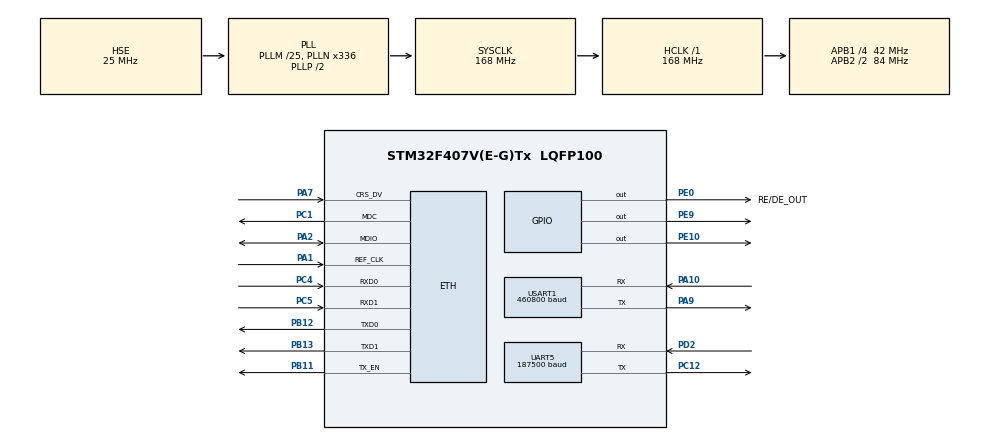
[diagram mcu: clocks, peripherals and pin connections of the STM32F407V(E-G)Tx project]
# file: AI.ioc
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Dma.Request0=USART1_TX
Dma.Request1=UART5_TX
Dma.UART5_TX.1.Direction=DMA_MEMORY_TO_PERIPH
Dma.UART5_TX.1.FIFOMode=DMA_FIFOMODE_DISABLE
Dma.UART5_TX.1.Instance=DMA1_Stream7
Dma.UART5_TX.1.MemDataAlignment=DMA_MDATAALIGN_BYTE
Dma.UART5_TX.1.MemInc=DMA_MINC_ENABLE
Dma.UART5_TX.1.Mode=DMA_NORMAL
Dma.UART5_TX.1.PeriphDataAlignment=DMA_PDATAALIGN_BYTE
Dma.UART5_TX.1.PeriphInc=DMA_PINC_DISABLE
Dma.UART5_TX.1.Priority=DMA_PRIORITY_LOW
Dma.USART1_TX.0.Direction=DMA_MEMORY_TO_PERIPH
Dma.USART1_TX.0.FIFOMode=DMA_FIFOMODE_DISABLE
Dma.USART1_TX.0.Instance=DMA2_Stream7
Dma.USART1_TX.0.MemDataAlignment=DMA_MDATAALIGN_BYTE
Dma.USART1_TX.0.MemInc=DMA_MINC_ENABLE
Dma.USART1_TX.0.Mode=DMA_NORMAL
Dma.USART1_TX.0.PeriphDataAlignment=DMA_PDATAALIGN_BYTE
Dma.USART1_TX.0.PeriphInc=DMA_PINC_DISABLE
Dma.USART1_TX.0.Priority=DMA_PRIORITY_MEDIUM
ETH.MACAddr=00\:02\:A2\:42\:50\:E4
ETH.MediaInterface=ETH_MEDIA_INTERFACE_RMII
ETH.PHY_Name_RMII=userPHY
ETH.PHY_User_Name=DP83848
ETH.PhyAddress=1
FREERTOS.HEAP_NUMBER=4
FREERTOS.MEMORY_ALLOCATION=2
FREERTOS.Tasks01=defaultTask,0,256,StartDefaultTask,Default,NULL,Dynamic,NULL,NULL
FREERTOS.configCHECK_FOR_STACK_OVERFLOW=0
FREERTOS.configGENERATE_RUN_TIME_STATS=1
FREERTOS.configLIBRARY_MAX_SYSCALL_INTERRUPT_PRIORITY=5
FREERTOS.configMINIMAL_STACK_SIZE=512
FREERTOS.configQUEUE_REGISTRY_SIZE=16
FREERTOS.configTOTAL_HEAP_SIZE=36864
FREERTOS.configUSE_TIMERS=0
FREERTOS.configUSE_TRACE_FACILITY=1
IWDG.Prescaler=IWDG_PRESCALER_4
IWDG.Reload=400
LWIP.DEFAULT_THREAD_STACKSIZE=2048
LWIP.IP_ADDRESS=192.168.004.253
LWIP.LWIP_DHCP=0
LWIP.LWIP_HTTPD=1
LWIP.LWIP_UDP=0
LWIP.MEMP_NUM_NETBUF=4
LWIP.MEMP_NUM_NETCONN=8
LWIP.MEMP_NUM_TCPIP_MSG_API=16
LWIP.MEMP_NUM_TCP_PCB=16
LWIP.MEMP_NUM_TCP_SEG=24
LWIP.NETMASK_ADDRESS=255.255.255.000
LWIP.SLIPIF_THREAD_STACKSIZE=2048
LWIP.TCPIP_THREAD_PRIO=2
LWIP.TCPIP_THREAD_STACKSIZE=2048
LWIP.TCP_MSS=720
LWIP.TCP_SND_BUF=1840
LWIP.TCP_WND=4096
LWIP.Version=v2.0.3_Cube
Mcu.Family=STM32F4
Mcu.Name=STM32F407V(E-G)Tx
Mcu.Package=LQFP100
NVIC.DMA1_Stream7_IRQn=true\:5\:0\:false\:false\:true\:true\:false
NVIC.DMA2_Stream7_IRQn=true\:5\:0\:false\:false\:true\:true\:false
NVIC.ETH_IRQn=true\:5\:0\:false\:false\:true\:true\:false
NVIC.PriorityGroup=NVIC_PRIORITYGROUP_4
NVIC.TIM1_UP_TIM10_IRQn=true\:0\:0\:false\:false\:true\:false\:false
NVIC.TIM7_IRQn=true\:5\:0\:false\:false\:true\:true\:true
NVIC.TIM8_UP_TIM13_IRQn=true\:5\:0\:false\:false\:true\:true\:true
NVIC.TimeBase=TIM1_UP_TIM10_IRQn
NVIC.TimeBaseIP=TIM1
NVIC.UART5_IRQn=true\:5\:0\:false\:false\:true\:true\:true
NVIC.USART1_IRQn=true\:5\:0\:false\:false\:true\:true\:true
PA1.Mode=RMII
PA1.Signal=ETH_REF_CLK
PA10.Mode=Asynchronous
PA10.Signal=USART1_RX
PA13.Mode=Trace_Asynchronous_SW
PA13.Signal=SYS_JTMS-SWDIO
PA14.Mode=Trace_Asynchronous_SW
PA14.Signal=SYS_JTCK-SWCLK
PA2.Mode=RMII
PA2.Signal=ETH_MDIO
PA7.Mode=RMII
PA7.Signal=ETH_CRS_DV
PA9.Mode=Asynchronous
PA9.Signal=USART1_TX
PB10.Signal=ETH_RX_ER
PB11.Mode=RMII
PB11.Signal=ETH_TX_EN
PB12.Mode=RMII
PB12.Signal=ETH_TXD0
PB13.Mode=RMII
PB13.Signal=ETH_TXD1
PB3.Mode=Trace_Asynchronous_SW
PB3.Signal=SYS_JTDO-SWO
PC1.Mode=RMII
PC1.Signal=ETH_MDC
PC12.Mode=Asynchronous
PC12.Signal=UART5_TX
PC4.Mode=RMII
PC4.Signal=ETH_RXD0
PC5.Mode=RMII
PC5.Signal=ETH_RXD1
PD2.Mode=Asynchronous
PD2.Signal=UART5_RX
PE0.GPIO_Label=RE/DE_OUT
PE0.Signal=GPIO_Output
PE10.Signal=GPIO_Output
PE9.Signal=GPIO_Output
PH0-OSC_IN.Mode=HSE-External-Oscillator
PH0-OSC_IN.Signal=RCC_OSC_IN
PH1-OSC_OUT.Mode=HSE-External-Oscillator
PH1-OSC_OUT.Signal=RCC_OSC_OUT
ProjectManager.HeapSize=0x2000
ProjectManager.StackSize=0x4000
ProjectManager.TargetToolchain=TrueSTUDIO
RCC.48MHZClocksFreq_Value=67200000
RCC.AHBFreq_Value=168000000
RCC.APB1CLKDivider=RCC_HCLK_DIV4
RCC.APB1Freq_Value=42000000
RCC.APB1TimFreq_Value=84000000
RCC.APB2CLKDivider=RCC_HCLK_DIV2
RCC.APB2Freq_Value=84000000
RCC.APB2TimFreq_Value=168000000
RCC.CortexFreq_Value=168000000
RCC.HCLKFreq_Value=168000000
RCC.HSE_VALUE=25000000
RCC.HSI_VALUE=16000000
RCC.LSE_VALUE=32768
RCC.PLLM=25
RCC.PLLN=336
RCC.PLLQ=5
RCC.PLLSourceVirtual=RCC_PLLSOURCE_HSE
RCC.SYSCLKFreq_VALUE=168000000
RCC.SYSCLKSource=RCC_SYSCLKSOURCE_PLLCLK
RCC.VCOOutputFreq_Value=336000000
TIM7.Period=840
TIM8.CounterMode=TIM_COUNTERMODE_UP
TIM8.Period=27720
UART5.BaudRate=187500
UART5.Parity=PARITY_EVEN
UART5.VirtualMode=Asynchronous
UART5.WordLength=WORDLENGTH_9B
USART1.BaudRate=460800
USART1.Mode=MODE_TX
USART1.VirtualMode=VM_ASYNC
VP_FREERTOS_VS_ENABLE.Mode=Enabled
VP_IWDG_VS_IWDG.Mode=IWDG_Activate
VP_LWIP_VS_Enabled.Mode=Enabled
VP_SYS_VS_tim1.Mode=TIM1
VP_TIM7_VS_ClockSourceINT.Mode=Enable_Timer
VP_TIM8_VS_ClockSourceINT.Mode=Internal
board=custom

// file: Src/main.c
/* USER CODE BEGIN Header */
/**
 ******************************************************************************
 * @file           : main.c
 * @brief          : Main program body
 ******************************************************************************
 * This notice applies to any and all portions of this file
 * that are not between comment pairs USER CODE BEGIN and
 * USER CODE END. Other portions of this file, whether
 * inserted by the user or by software development tools
 * are owned by their respective copyright owners.
 *
 * Copyright (c) 2018 STMicroelectronics International N.V.
 * All rights reserved.
 *
 * Redistribution and use in source and binary forms, with or without
 * modification, are permitted, provided that the following conditions are met:
 *
 * 1. Redistribution of source code must retain the above copyright notice,
 *    this list of conditions and the following disclaimer.
 * 2. Redistributions in binary form must reproduce the above copyright notice,
 *    this list of conditions and the following disclaimer in the documentation
 *    and/or other materials provided with the distribution.
 * 3. Neither the name of STMicroelectronics nor the names of other
 *    contributors to this software may be used to endorse or promote products
 *    derived from this software without specific written permission.
 * 4. This software, including modifications and/or derivative works of this
 *    software, must execute solely and exclusively on microcontroller or
 *    microprocessor devices manufactured by or for STMicroelectronics.
 * 5. Redistribution and use of this software other than as permitted under
 *    this license is void and will automatically terminate your rights under
 *    this license.
 *
 * THIS SOFTWARE IS PROVIDED BY STMICROELECTRONICS AND CONTRIBUTORS "AS IS"
 * AND ANY EXPRESS, IMPLIED OR STATUTORY WARRANTIES, INCLUDING, BUT NOT
 * LIMITED TO, THE IMPLIED WARRANTIES OF MERCHANTABILITY, FITNESS FOR A
 * PARTICULAR PURPOSE AND NON-INFRINGEMENT OF THIRD PARTY INTELLECTUAL PROPERTY
 * RIGHTS ARE DISCLAIMED TO THE FULLEST EXTENT PERMITTED BY LAW. IN NO EVENT
 * SHALL STMICROELECTRONICS OR CONTRIBUTORS BE LIABLE FOR ANY DIRECT, INDIRECT,
 * INCIDENTAL, SPECIAL, EXEMPLARY, OR CONSEQUENTIAL DAMAGES (INCLUDING, BUT NOT
 * LIMITED TO, PROCUREMENT OF SUBSTITUTE GOODS OR SERVICES; LOSS OF USE, DATA,
 * OR PROFITS; OR BUSINESS INTERRUPTION) HOWEVER CAUSED AND ON ANY THEORY OF
 * LIABILITY, WHETHER IN CONTRACT, STRICT LIABILITY, OR TORT (INCLUDING
 * NEGLIGENCE OR OTHERWISE) ARISING IN ANY WAY OUT OF THE USE OF THIS SOFTWARE,
 * EVEN IF ADVISED OF THE POSSIBILITY OF SUCH DAMAGE.
 *
 ******************************************************************************
 */
/* USER CODE END Header */

#include "main.h"
#include "cmsis_os.h"
#include "dma.h"
#include "iwdg.h"
#include "lwip.h"
#include "tim.h"
#include "usart.h"
#include "gpio.h"

/* USER CODE BEGIN Includes */
#include "eeprom.h"
#include "config_IA.h"
#include "processUART.h"
#include "log.h"
#include "test_runner.h"
/* USER CODE END Includes */

/* USER CODE BEGIN PV */
extern volatile unsigned long ulHighFrequencyTimerTicks;
/* USER CODE END PV */

void SystemClock_Config(void);
void MX_FREERTOS_Init(void);

int main(void) {

	/* MCU Configuration--------------------------------------------------------*/

	/* Reset of all peripherals, Initializes the Flash interface and the Systick. */
	HAL_Init();

	/* Configure the system clock */
	SystemClock_Config();

	/* USER CODE BEGIN SysInit */
	HAL_FLASH_Unlock();
	MX_GPIO_Init();
	EE_Init();
	FlashInit();
	ProtocolSettingsInit(&hprot);

	/* USER CODE END SysInit */

	/* Initialize all configured peripherals */

	MX_DMA_Init();
	MX_UART5_Init();
	MX_TIM8_Init();
	MX_TIM7_Init();
	MX_USART1_UART_Init();
	MX_IWDG_Init();

	/* USER CODE BEGIN 2 */

#ifdef LOG_ON
	LogInit(&huart1);
#endif /* #ifdef LOG_ON  */

#ifdef TESTS_ON
	RunAllTests();
#endif /* #ifdef TESTS_ON */

	/* USER CODE END 2 */

	/* Call init function for freertos objects (in freertos.c) */
	MX_FREERTOS_Init();

	/* Start scheduler */
	osKernelStart();

	/* We should never get here as control is now taken by the scheduler */

	/* Infinite loop */
	while (1) {

	}
}

void SystemClock_Config(void) {
	RCC_OscInitTypeDef RCC_OscInitStruct = { 0 };
	RCC_ClkInitTypeDef RCC_ClkInitStruct = { 0 };

	/**Configure the main internal regulator output voltage
	 */
	__HAL_RCC_PWR_CLK_ENABLE()
	;
	__HAL_PWR_VOLTAGESCALING_CONFIG(PWR_REGULATOR_VOLTAGE_SCALE1);
	/**Initializes the CPU, AHB and APB busses clocks
	 */
	RCC_OscInitStruct.OscillatorType = RCC_OSCILLATORTYPE_LSI
			| RCC_OSCILLATORTYPE_HSE;
	RCC_OscInitStruct.HSEState = RCC_HSE_ON;
	RCC_OscInitStruct.LSIState = RCC_LSI_ON;
	RCC_OscInitStruct.PLL.PLLState = RCC_PLL_ON;
	RCC_OscInitStruct.PLL.PLLSource = RCC_PLLSOURCE_HSE;
	RCC_OscInitStruct.PLL.PLLM = 25;
	RCC_OscInitStruct.PLL.PLLN = 336;
	RCC_OscInitStruct.PLL.PLLP = RCC_PLLP_DIV2;
	RCC_OscInitStruct.PLL.PLLQ = 5;
	if (HAL_RCC_OscConfig(&RCC_OscInitStruct) != HAL_OK) {
		Error_Handler();
	}
	/**Initializes the CPU, AHB and APB busses clocks
	 */
	RCC_ClkInitStruct.ClockType = RCC_CLOCKTYPE_HCLK | RCC_CLOCKTYPE_SYSCLK
			| RCC_CLOCKTYPE_PCLK1 | RCC_CLOCKTYPE_PCLK2;
	RCC_ClkInitStruct.SYSCLKSource = RCC_SYSCLKSOURCE_PLLCLK;
	RCC_ClkInitStruct.AHBCLKDivider = RCC_SYSCLK_DIV1;
	RCC_ClkInitStruct.APB1CLKDivider = RCC_HCLK_DIV4;
	RCC_ClkInitStruct.APB2CLKDivider = RCC_HCLK_DIV2;

	if (HAL_RCC_ClockConfig(&RCC_ClkInitStruct, FLASH_LATENCY_5) != HAL_OK) {
		Error_Handler();
	}
}

void HAL_TIM_PeriodElapsedCallback(TIM_HandleTypeDef *htim) {
	if (htim->Instance == TIM1) {
		HAL_IncTick();
	}
	/* USER CODE BEGIN Callback 1 */
	if (htim->Instance == TIM8) {
		CommandProcess();
	}
	if (htim->Instance == TIM7) {
		__HAL_TIM_SET_COUNTER(&htim7, 0x00U);
		HAL_TIM_Base_Start_IT(&htim7);
		ulHighFrequencyTimerTicks++;
	}
	/* USER CODE END Callback 1 */
}

void Error_Handler(void) {
	for (;;) {
	}
}

/************************ (C) COPYRIGHT STMicroelectronics *****END OF FILE****/

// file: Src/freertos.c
/* USER CODE BEGIN Header */
/**
 ******************************************************************************
 * File Name          : freertos.c
 * Description        : Code for freertos applications
 ******************************************************************************
 * This notice applies to any and all portions of this file
 * that are not between comment pairs USER CODE BEGIN and
 * USER CODE END. Other portions of this file, whether
 * inserted by the user or by software development tools
 * are owned by their respective copyright owners.
 *
 * Copyright (c) 2018 STMicroelectronics International N.V.
 * All rights reserved.
 *
 * Redistribution and use in source and binary forms, with or without
 * modification, are permitted, provided that the following conditions are met:
 *
 * 1. Redistribution of source code must retain the above copyright notice,
 *    this list of conditions and the following disclaimer.
 * 2. Redistributions in binary form must reproduce the above copyright notice,
 *    this list of conditions and the following disclaimer in the documentation
 *    and/or other materials provided with the distribution.
 * 3. Neither the name of STMicroelectronics nor the names of other
 *    contributors to this software may be used to endorse or promote products
 *    derived from this software without specific written permission.
 * 4. This software, including modifications and/or derivative works of this
 *    software, must execute solely and exclusively on microcontroller or
 *    microprocessor devices manufactured by or for STMicroelectronics.
 * 5. Redistribution and use of this software other than as permitted under
 *    this license is void and will automatically terminate your rights under
 *    this license.
 *
 * THIS SOFTWARE IS PROVIDED BY STMICROELECTRONICS AND CONTRIBUTORS "AS IS"
 * AND ANY EXPRESS, IMPLIED OR STATUTORY WARRANTIES, INCLUDING, BUT NOT
 * LIMITED TO, THE IMPLIED WARRANTIES OF MERCHANTABILITY, FITNESS FOR A
 * PARTICULAR PURPOSE AND NON-INFRINGEMENT OF THIRD PARTY INTELLECTUAL PROPERTY
 * RIGHTS ARE DISCLAIMED TO THE FULLEST EXTENT PERMITTED BY LAW. IN NO EVENT
 * SHALL STMICROELECTRONICS OR CONTRIBUTORS BE LIABLE FOR ANY DIRECT, INDIRECT,
 * INCIDENTAL, SPECIAL, EXEMPLARY, OR CONSEQUENTIAL DAMAGES (INCLUDING, BUT NOT
 * LIMITED TO, PROCUREMENT OF SUBSTITUTE GOODS OR SERVICES; LOSS OF USE, DATA,
 * OR PROFITS; OR BUSINESS INTERRUPTION) HOWEVER CAUSED AND ON ANY THEORY OF
 * LIABILITY, WHETHER IN CONTRACT, STRICT LIABILITY, OR TORT (INCLUDING
 * NEGLIGENCE OR OTHERWISE) ARISING IN ANY WAY OUT OF THE USE OF THIS SOFTWARE,
 * EVEN IF ADVISED OF THE POSSIBILITY OF SUCH DAMAGE.
 *
 ******************************************************************************
 */
/* USER CODE END Header */

#include "FreeRTOS.h"
#include "task.h"
#include "main.h"
#include "cmsis_os.h"

/* USER CODE BEGIN Includes */
#include "lwip/opt.h"
#include "lwip/arch.h"
#include "lwip/api.h"
#include "string.h"
#include "lwip/apps/fs.h"
#include "web_server.h"
#include "eeprom.h"
#include "processUART.h"
#include "log.h"
#include "tcp_client.h"
/* USER CODE END Includes */

/* USER CODE BEGIN PTD */
xQueueHandle frames_queue;
xQueueHandle cleaner_queue;
/* USER CODE END PTD */

/* USER CODE BEGIN Variables */
extern volatile int reboot_flag;
typedef struct struct_sock_t {
	struct netconn * conn;
} struct_sock;
struct_sock sock01;
osThreadId processTaskHandle;
osThreadId conn_creatorHandle;
osThreadId heapCleanerHandle;

volatile unsigned long ulHighFrequencyTimerTicks = 0;
/* USER CODE END Variables */
osThreadId defaultTaskHandle;

/* USER CODE BEGIN FunctionPrototypes */
void StartHeapCleanerTask(void const * argument);
void StartCreatorTask(void const * argument);
/* USER CODE END FunctionPrototypes */

void StartDefaultTask(void const * argument);

extern void MX_LWIP_Init(void);
void MX_FREERTOS_Init(void); /* (MISRA C 2004 rule 8.1) */

/* GetIdleTaskMemory prototype (linked to static allocation support) */
void vApplicationGetIdleTaskMemory(StaticTask_t **ppxIdleTaskTCBBuffer,
		StackType_t **ppxIdleTaskStackBuffer, uint32_t *pulIdleTaskStackSize);

/* Hook prototypes */
void configureTimerForRunTimeStats(void);
unsigned long getRunTimeCounterValue(void);

/* USER CODE BEGIN 1 */
/* Functions needed when configGENERATE_RUN_TIME_STATS is on */
__weak void configureTimerForRunTimeStats(void) {
	NVIC_SetPriority(TIM7_IRQn, 0);
	NVIC_EnableIRQ(TIM7_IRQn);
	MX_TIM7_Init();
	HAL_TIM_Base_Start_IT(&htim7);
}

__weak unsigned long getRunTimeCounterValue(void) {
	return ulHighFrequencyTimerTicks;
}
/* USER CODE END 1 */

/* USER CODE BEGIN GET_IDLE_TASK_MEMORY */
static StaticTask_t xIdleTaskTCBBuffer;
static StackType_t xIdleStack[configMINIMAL_STACK_SIZE];

void vApplicationGetIdleTaskMemory(StaticTask_t **ppxIdleTaskTCBBuffer,
		StackType_t **ppxIdleTaskStackBuffer, uint32_t *pulIdleTaskStackSize) {
	*ppxIdleTaskTCBBuffer = &xIdleTaskTCBBuffer;
	*ppxIdleTaskStackBuffer = &xIdleStack[0];
	*pulIdleTaskStackSize = configMINIMAL_STACK_SIZE;
	/* place for user code */
}
/* USER CODE END GET_IDLE_TASK_MEMORY */

void MX_FREERTOS_Init(void) {

	/* Create the thread(s) */
	/* definition and creation of defaultTask */
	osThreadDef(defaultTask, StartDefaultTask, osPriorityNormal, 0, 256);
	defaultTaskHandle = osThreadCreate(osThread(defaultTask), NULL);

	/* USER CODE BEGIN RTOS_THREADS */
	osThreadDef(processTask, StartProcessTask, osPriorityRealtime, 0, 1024);
	processTaskHandle = osThreadCreate(osThread(processTask), NULL);

	osThreadDef(conn_creatorTask, StartCreatorTask, osPriorityNormal, 0, 1024);
	conn_creatorHandle = osThreadCreate(osThread(conn_creatorTask), NULL);

	osThreadDef(cleanerTask, StartHeapCleanerTask, osPriorityAboveNormal, 0,
			256);
	heapCleanerHandle = osThreadCreate(osThread(cleanerTask), NULL);
	/* USER CODE END RTOS_THREADS */

	/* USER CODE BEGIN RTOS_QUEUES */
	frames_queue = xQueueCreate(16, sizeof(uint16_t));
	vQueueAddToRegistry(frames_queue, "frames_queue");
	cleaner_queue = xQueueCreate(16, sizeof(uint8_t*));
	vQueueAddToRegistry(cleaner_queue, "cleaner_queue");
	tcp_client_queue = xQueueCreate(8, sizeof(parcel_t));
	vQueueAddToRegistry(tcp_client_queue, "tcp_client_queue");
	protocol_queue = xQueueCreate(8, sizeof(parcel_t));
	vQueueAddToRegistry(protocol_queue, "protocol_queue");
	/* USER CODE END RTOS_QUEUES */
}

void StartDefaultTask(void const * argument) {
	/* init code for LWIP */

	MX_LWIP_Init();

	/* USER CODE BEGIN StartDefaultTask */

	struct netconn *conn_port80;
	err_t err;
	uint32_t reg;
	conn_port80 = netconn_new(NETCONN_TCP);
	if (conn_port80 != NULL) {
		err = netconn_bind(conn_port80, IP_ADDR_ANY, hflash.web_port);
		if (err == ERR_OK) {
			netconn_listen(conn_port80);
			sys_thread_new("web_thread", Web_thread, (void*) conn_port80,
			DEFAULT_THREAD_STACKSIZE, osPriorityNormal);
		} else {
			netconn_delete(conn_port80);
		}
	}

	HAL_GPIO_WritePin(GPIOE, GPIO_PIN_9, GPIO_PIN_SET);

	/* Infinite loop */
	for (;;) {
		osDelay(300);
		HAL_ETH_ReadPHYRegister(&heth, PHY_BSR, &reg);
		HAL_GPIO_TogglePin(GPIOE, GPIO_PIN_9);
		if (reboot_flag || !(reg & PHY_LINKED_STATUS)) {
			osDelay(30);
			SCB->AIRCR = 0x05FA0004; /* Software reset */
		}

	}
	/* USER CODE END StartDefaultTask */
}

/* USER CODE BEGIN Application */

void StartCreatorTask(void const * argument) {
	struct netconn *conn_port102;
	err_t accept_err, err;
	uint8_t state = 0, run = 1;
	conn_port102 = netconn_new(NETCONN_TCP); /* Create a new TCP connection handle */
	if (conn_port102 != NULL) {
		state++;
		LogText(INFO_SHOW, SUB_SYS_TCP, LOG_LEV_INFO,
				"New TCP connection on port 102 created.\r\n");
	}
	for (;;) {
		while (run) {
			switch (state) {
			case 0: {
				conn_port102 = netconn_new(NETCONN_TCP); /* Create a new TCP connection handle */
				if (conn_port102 != NULL) {
					state++;
					LogText(INFO_SHOW, SUB_SYS_TCP, LOG_LEV_INFO,
							"New TCP connection on port 102 created.\r\n");
				} else {
					LogText(INFO_SHOW, SUB_SYS_TCP, LOG_LEV_ERR,
							"Can not create TCP connection on port 102.\r\n");
				}
				break;
			}
			case 1: {
				err = netconn_bind(conn_port102, IP_ADDR_ANY, hflash.port); /* Bind to port with default IP address */
				if (err == ERR_OK) {
					state++;
					LogText(INFO_SHOW, SUB_SYS_TCP, LOG_LEV_INFO,
							"Binded successfully to port 102.\r\n");
				} else {
					netconn_delete(conn_port102);
					LogText(INFO_SHOW, SUB_SYS_TCP, LOG_LEV_ERR,
							"Error while binding, connection deleted.\r\n");
					state = 0;
				}
				break;
			}
			case 2: {
				state++;
				netconn_listen(conn_port102); /* Start port listening*/
				LogText(INFO_SHOW, SUB_SYS_TCP, LOG_LEV_INFO,
						"Started port 102 listening.\r\n");
				break;
			}
			case 3: {
				struct netconn *arg_conn;
				accept_err = netconn_accept(conn_port102, &arg_conn); /* Waiting for new connection */
				if (accept_err == ERR_OK) {
					LogText(INFO_SHOW, SUB_SYS_TCP, LOG_LEV_INFO,
							"Create new task.\r\n");
					sys_thread_new("tcp_serv_thread", Client_thread,
							(void*) arg_conn,
							DEFAULT_THREAD_STACKSIZE/2, osPriorityAboveNormal);
				} else {
					LogText(INFO_SHOW, SUB_SYS_TCP, LOG_LEV_ERR,
							"Error while accepting. Error number: ");
					LogNum(INFO_HIDE, SUB_SYS_TCP, LOG_LEV_ERR, accept_err, 10);
					LogText(INFO_HIDE, SUB_SYS_TCP, LOG_LEV_ERR, ".\r\n");
				}
				break;
			}
			default:
				break;
			}
		}
	}
}

//---------------------------------------------------------------
void StartHeapCleanerTask(void const * argument) {
	uint8_t * heap_ptr;
	for (;;) {
		xQueueReceive(cleaner_queue, &heap_ptr, portMAX_DELAY);
		vPortFree((uint8_t *) heap_ptr);
		heap_ptr = NULL;
	}
}
//---------------------------------------------------------------
/* USER CODE END Application */

/************************ (C) COPYRIGHT STMicroelectronics *****END OF FILE****/
